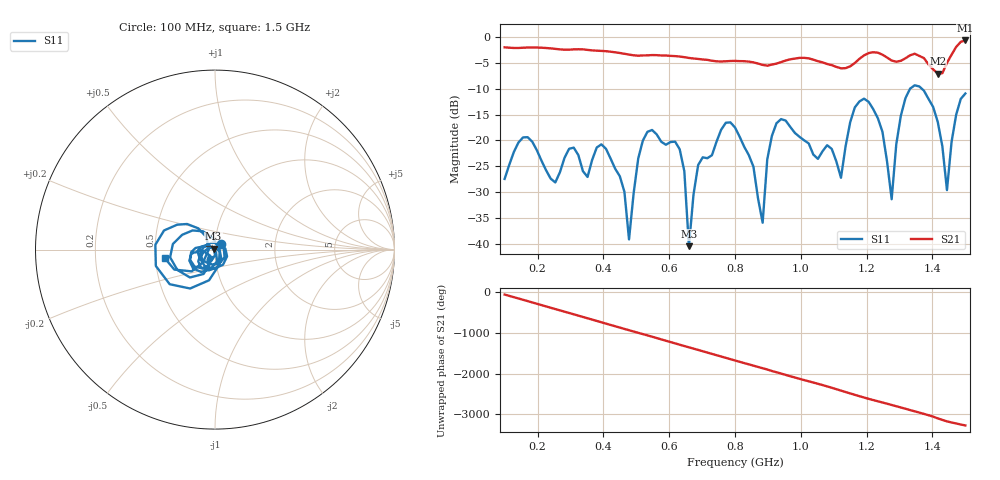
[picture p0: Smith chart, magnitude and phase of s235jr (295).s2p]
! NanoVNA-App
! Date: 2025-09-25 15:06:27
! Start: 100MHz Stop: 1,5GHz Points: 101
! S-Parameter data: F S11 S21 S12 S22
# Hz S RI R 50
!  Frequency  S11_Real  S11_Imag  S21_Real  S21_Imag  S12_Real  S12_Imag  S22_Real  S22_Imag
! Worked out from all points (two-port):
!   101 points, 100 MHz to 1.5 GHz, reference 50 ohm
!   highest |S21| = -0.63 dB at 1.5 GHz (marker M1); lowest = -7.0 dB at 1.416 GHz (marker M2)
!   |S21| within 3 dB of the highest: start of sweep to 608.1 MHz; 1.19 GHz to 1.254 GHz (64.18 MHz wide, 5.25 % of centre) (the widest 2 of 4)
!   lowest |S11| = -40.5 dB at 660 MHz (marker M3), VSWR 1.02, Z = 49.2 + j0.536 ohm
!   |S11| at or under -10 dB: start of sweep to 1.332 GHz; 1.368 GHz to end of sweep
!   S12 and S22 are empty: the file has one direction only
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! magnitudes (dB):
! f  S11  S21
! 100 MHz  -27.5  -2.0
! 156 MHz  -19.4  -2.0
! 338 MHz  -26.0  -2.4
! 408 MHz  -21.6  -2.7
! 478 MHz  -39.2  -3.4
! 520 MHz  -20.0  -3.5
! 576 MHz  -20.3  -3.5
! 632 MHz  -21.7  -3.7
! 660 MHz  -40.5  -4.0
! 688 MHz  -24.8  -4.2
! 800 MHz  -17.5  -4.6
! 884 MHz  -36.0  -5.4
! 926 MHz  -16.7  -5.1
! 1.038 GHz  -22.7  -4.4
! 1.122 GHz  -27.2  -6.0
! 1.192 GHz  -11.9  -3.5
! 1.248 GHz  -18.3  -3.4
! 1.276 GHz  -31.4  -4.5
! 1.332 GHz  -10.0  -3.5
! 1.416 GHz  -16.4  -7.0
! 1.444 GHz  -29.6  -5.0
! 1.5 GHz  -10.9  -0.6
